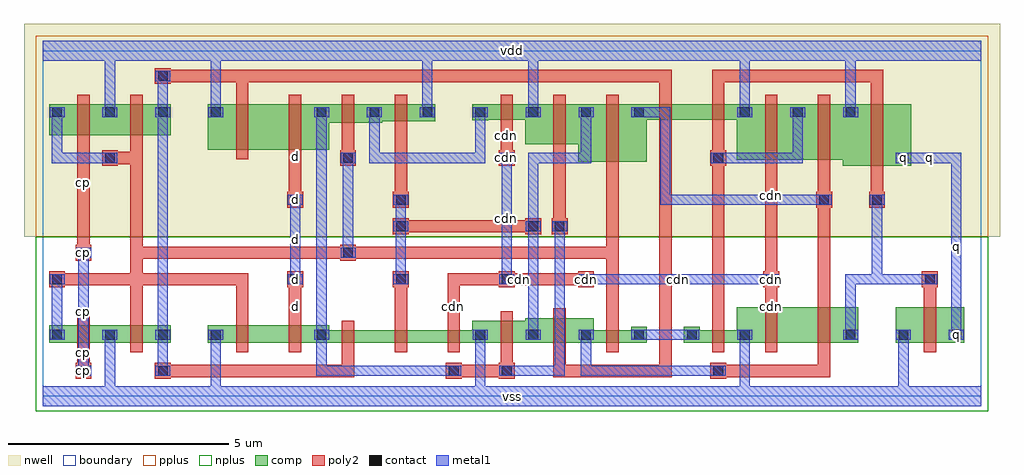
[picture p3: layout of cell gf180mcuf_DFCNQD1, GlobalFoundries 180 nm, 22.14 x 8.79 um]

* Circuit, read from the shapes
.subckt gf180mcuf_DFCNQD1 cdn cp d q vdd vss
XM1 vss cp n1 VSUBS nfet_03v3 w=0.4u l=0.28u
XM2 n2 n1 vss VSUBS nfet_03v3 w=0.4u l=0.28u
XM3 n3 n1 vss VSUBS nfet_03v3 w=0.4u l=0.28u
XM4 n4 d n3 VSUBS nfet_03v3 w=0.4u l=0.28u
XM5 n5 n2 n4 VSUBS nfet_03v3 w=0.28u l=0.28u
XM6 n6 n7 n5 VSUBS nfet_03v3 w=0.28u l=0.28u
XM7 vss cdn n6 VSUBS nfet_03v3 w=0.28u l=0.28u
XM8 n7 n4 vss VSUBS nfet_03v3 w=0.495u l=0.28u
XM9 n8 n2 n7 VSUBS nfet_03v3 w=0.56u l=0.28u
XM10 n9 n1 n8 VSUBS nfet_03v3 w=0.28u l=0.28u
XM11 vss n10 n9 VSUBS nfet_03v3 w=0.28u l=0.28u
XM12 n11 cdn vss VSUBS nfet_03v3 w=0.8u l=0.28u
XM13 n10 n8 n11 VSUBS nfet_03v3 w=0.8u l=0.28u
XM14 q n10 vss VSUBS nfet_03v3 w=0.8u l=0.28u
XM15 vdd cp n1 n12 pfet_03v3 w=0.7u l=0.28u
XM16 n2 n1 vdd n12 pfet_03v3 w=0.7u l=0.28u
XM17 n13 n2 vdd n12 pfet_03v3 w=1.03u l=0.28u
XM18 n4 d n13 n12 pfet_03v3 w=1.03u l=0.28u
XM19 n14 n1 n4 n12 pfet_03v3 w=0.42u l=0.28u
XM20 vdd n7 n14 n12 pfet_03v3 w=0.385u l=0.28u
XM21 vdd cdn n14 n12 pfet_03v3 w=0.355u l=0.28u
XM22 n7 n4 vdd n12 pfet_03v3 w=0.91u l=0.28u
XM23 n8 n1 n7 n12 pfet_03v3 w=1.31u l=0.28u
XM24 n15 n2 n8 n12 pfet_03v3 w=0.355u l=0.28u
XM25 vdd n10 n15 n12 pfet_03v3 w=0.355u l=0.28u
XM26 n10 cdn vdd n12 pfet_03v3 w=1.26u l=0.28u
XM27 vdd n8 n10 n12 pfet_03v3 w=1.26u l=0.28u
XM28 q n10 vdd n12 pfet_03v3 w=1.4u l=0.28u
.ends

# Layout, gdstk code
import gdstk
lib = gdstk.Library(unit=1e-6, precision=1e-09)
def R(c, l, rs):  # rectangles x0, y0, x1, y1
    for r in rs: c.add(gdstk.rectangle(r[:2], r[2:], *l))
def A(c, l, x, y, w, h, nx, ny, dx, dy):  # array of equal rectangles
    R(c, l, [(x+i*dx, y+j*dy, x+i*dx+w, y+j*dy+h) for i in range(nx) for j in range(ny)])
boundary = (0, 0)
nwell = (21, 0)
comp = (22, 0)
poly2 = (30, 0)
pplus = (31, 0)
nplus = (32, 0)
contact = (33, 0)
metal1 = (34, 0)

gf180mcuf_dfcnqd1 = lib.new_cell('gf180mcuf_DFCNQD1')
R(gf180mcuf_dfcnqd1, boundary, [(0,0,21.28,7.84)])
R(gf180mcuf_dfcnqd1, nwell, [(-0.43,3.62,21.71,8.45)])
A(gf180mcuf_dfcnqd1, comp, 0.14, 1.215, 0.36, 0.36, 4, 2, 1.2, 5.05)
A(gf180mcuf_dfcnqd1, comp, 6.14, 1.215, 1.56, 0.28, 3, 1, 1.2, 0)
A(gf180mcuf_dfcnqd1, comp, 9.74, 1.215, 0.36, 0.36, 6, 1, 1.2, 0)
A(gf180mcuf_dfcnqd1, comp, 18.14, 1.215, 0.36, 0.36, 3, 1, 1.2, 0)
A(gf180mcuf_dfcnqd1, comp, 6.14, 6.265, 0.36, 0.36, 7, 1, 1.2, 0)
A(gf180mcuf_dfcnqd1, comp, 15.74, 6.265, 0.36, 0.36, 3, 1, 1.2, 0)
R(gf180mcuf_dfcnqd1, comp, [(0.14,1.215,1.7,1.615), (1.34,1.215,2.9,1.615), (3.74,1.215,5.3,1.615), (4.94,1.215,6.5,1.615), (6.14,1.215,6.5,1.575), (9.74,1.215,11.3,1.71), (10.94,1.215,12.5,1.775), (12.14,1.215,13.7,1.495), (14.54,1.215,16.1,1.495), (15.74,1.215,17.3,2.015), (16.94,1.215,18.5,2.015), (19.34,1.215,20.9,2.015), (18.14,5.225,19.7,6.625), (19.34,5.225,19.7,5.585), (12.14,5.315,13.7,6.625), (15.74,5.365,17.3,6.625), (16.94,5.365,18.5,6.625), (3.74,5.595,5.3,6.625), (4.94,5.595,6.5,6.625), (10.94,5.715,12.5,6.625), (0.14,5.925,1.7,6.625), (1.34,5.925,2.9,6.625), (6.14,6.205,7.7,6.625), (7.34,6.24,8.9,6.625), (9.74,6.27,11.3,6.625), (13.34,6.27,14.9,6.625), (14.54,6.27,16.1,6.625)])
A(gf180mcuf_dfcnqd1, poly2, 6.78, 0.995, 0.28, 0.72, 3, 1, 1.2, 0)
A(gf180mcuf_dfcnqd1, poly2, 5.54, 2.475, 0.36, 0.36, 3, 1, 2.4, 0)
R(gf180mcuf_dfcnqd1, poly2, [(0.74,0.395,1.1,0.755), (2.54,0.395,2.9,0.755), (9.14,0.395,9.5,0.755), (10.34,0.395,10.7,0.755), (15.14,0.395,15.5,0.755), (0.78,0.435,1.06,1.535), (2.58,0.435,7.06,0.715), (6.78,0.435,7.06,1.535), (9.18,0.435,10.66,0.715), (10.38,0.435,10.66,1.535), (11.58,0.435,11.86,1.535), (11.58,0.435,14.26,0.715), (13.98,0.435,14.26,6.585), (15.18,0.435,17.86,0.715), (17.58,0.435,17.86,1.535), (0.78,0.995,1.06,1.835), (1.98,0.995,2.26,1.835), (4.38,0.995,4.66,1.835), (5.58,0.995,5.86,1.835), (10.38,0.995,10.66,1.93), (11.58,0.995,11.86,1.995), (12.78,0.995,13.06,1.715), (15.18,0.995,15.46,1.715), (16.38,0.995,16.66,2.235), (17.58,0.995,17.86,2.235), (19.98,0.995,20.26,2.235), (1.98,1.255,2.26,2.795), (1.98,1.255,2.26,2.795), (4.38,1.255,4.66,2.795), (5.58,1.255,5.86,2.795), (7.98,1.255,8.26,2.795), (9.18,1.255,9.46,2.795), (12.78,1.255,13.06,3.395), (15.18,1.255,15.46,6.585), (16.38,1.255,16.66,2.795), (17.58,1.255,17.86,4.595), (19.98,1.255,20.26,2.795), (0.14,2.475,0.5,2.835), (12.14,2.475,12.5,2.835), (16.34,2.475,16.7,2.835), (19.94,2.475,20.3,2.835), (0.18,2.515,2.26,2.795), (1.98,2.515,2.26,6.585), (1.98,2.515,2.26,3.395), (1.98,2.515,4.66,2.795), (9.18,2.515,12.46,2.795), (16.38,2.515,16.66,6.585), (0.74,3.075,1.1,3.435), (6.74,3.075,7.1,3.435), (0.78,3.115,1.06,6.585), (1.98,3.115,7.06,3.395), (6.78,3.115,13.06,3.395), (12.78,3.115,13.06,6.585), (7.94,3.675,8.3,4.035), (10.94,3.675,11.3,4.035), (11.54,3.675,11.9,4.035), (7.98,3.715,11.26,3.995), (11.58,3.715,11.86,6.585), (5.54,4.275,5.9,4.635), (7.94,4.275,8.3,4.635), (17.54,4.275,17.9,4.635), (18.74,4.275,19.1,4.635), (5.58,4.315,5.86,6.585), (7.98,4.315,8.26,6.585), (17.58,4.315,17.86,6.585), (18.78,4.315,19.06,5.545), (18.78,5.005,19.06,6.845), (12.78,5.095,13.06,6.845), (16.38,5.145,16.66,6.845), (17.58,5.145,17.86,6.845), (1.34,5.225,1.7,5.585), (6.74,5.225,7.1,5.585), (10.34,5.225,10.7,5.585), (15.14,5.225,15.5,5.585), (1.38,5.265,2.26,5.545), (6.78,5.265,7.06,6.585), (10.38,5.265,10.66,6.585), (4.38,5.375,4.66,6.845), (5.58,5.375,5.86,6.845), (11.58,5.495,11.86,6.845), (0.78,5.705,1.06,6.845), (1.98,5.705,2.26,6.845), (6.78,5.985,7.06,6.845), (7.98,6.02,8.26,6.845), (10.38,6.05,10.66,6.845), (13.98,6.05,14.26,6.845), (15.18,6.05,15.46,6.845), (4.38,6.305,4.66,7.405), (13.98,6.305,14.26,7.405), (15.18,6.305,15.46,7.405), (18.78,6.305,19.06,7.405), (2.54,7.085,2.9,7.445), (2.58,7.125,4.66,7.405), (4.38,7.125,14.26,7.405), (15.18,7.125,19.06,7.405)])
R(gf180mcuf_dfcnqd1, pplus, [(-0.16,3.62,21.44,7.5), (-0.16,7.5,21.44,8.18)])
R(gf180mcuf_dfcnqd1, nplus, [(-0.16,-0.34,21.44,0.34), (-0.16,0.34,21.44,3.62)])
A(gf180mcuf_dfcnqd1, contact, 0.21, 1.285, 0.22, 0.22, 4, 2, 1.2, 5.05)
A(gf180mcuf_dfcnqd1, contact, 9.81, 1.285, 0.22, 0.22, 6, 1, 1.2, 0)
A(gf180mcuf_dfcnqd1, contact, 18.21, 1.285, 0.22, 0.22, 3, 1, 1.2, 0)
A(gf180mcuf_dfcnqd1, contact, 5.61, 2.545, 0.22, 0.22, 3, 1, 2.4, 0)
A(gf180mcuf_dfcnqd1, contact, 6.21, 6.335, 0.22, 0.22, 7, 1, 1.2, 0)
A(gf180mcuf_dfcnqd1, contact, 15.81, 6.335, 0.22, 0.22, 3, 1, 1.2, 0)
R(gf180mcuf_dfcnqd1, contact, [(0.81,0.465,1.03,0.685), (2.61,0.465,2.83,0.685), (9.21,0.465,9.43,0.685), (10.41,0.465,10.63,0.685), (15.21,0.465,15.43,0.685), (6.21,1.285,6.43,1.505), (0.21,2.545,0.43,2.765), (12.21,2.545,12.43,2.765), (16.41,2.545,16.63,2.765), (20.01,2.545,20.23,2.765), (0.81,3.145,1.03,3.365), (6.81,3.145,7.03,3.365), (8.01,3.745,8.23,3.965), (11.01,3.745,11.23,3.965), (11.61,3.745,11.83,3.965), (5.61,4.345,5.83,4.565), (8.01,4.345,8.23,4.565), (17.61,4.345,17.83,4.565), (18.81,4.345,19.03,4.565), (1.41,5.295,1.63,5.515), (6.81,5.295,7.03,5.515), (10.41,5.295,10.63,5.515), (15.21,5.295,15.43,5.515), (19.41,5.295,19.63,5.515), (2.61,7.155,2.83,7.375)])
A(gf180mcuf_dfcnqd1, metal1, 3.805, 0.065, 0.23, 1.445, 3, 1, 6, 0)
A(gf180mcuf_dfcnqd1, metal1, 0.15, 1.28, 0.34, 0.23, 4, 2, 1.2, 5.05)
A(gf180mcuf_dfcnqd1, metal1, 9.75, 1.28, 0.34, 0.23, 6, 1, 1.2, 0)
A(gf180mcuf_dfcnqd1, metal1, 18.15, 1.28, 0.34, 0.23, 3, 1, 1.2, 0)
A(gf180mcuf_dfcnqd1, metal1, 5.55, 2.54, 0.34, 0.23, 3, 1, 2.4, 0)
A(gf180mcuf_dfcnqd1, metal1, 7.405, 5.29, 0.23, 1.27, 3, 1, 2.4, 0)
A(gf180mcuf_dfcnqd1, metal1, 6.15, 6.33, 0.34, 0.23, 7, 1, 1.2, 0)
A(gf180mcuf_dfcnqd1, metal1, 15.75, 6.33, 0.34, 0.23, 3, 1, 1.2, 0)
R(gf180mcuf_dfcnqd1, metal1, [(0,-0.23,21.28,0.23), (1.405,0.065,1.635,1.51), (19.405,0.065,19.635,1.51), (0.75,0.46,1.09,0.69), (0.805,0.46,1.035,3.37), (2.55,0.46,2.89,0.69), (2.605,0.46,2.835,1.51), (6.205,0.46,6.435,1.51), (6.205,0.46,9.435,0.69), (9.15,0.46,9.49,0.69), (10.35,0.46,10.69,0.69), (10.405,0.46,11.835,0.69), (11.605,0.46,11.835,3.97), (12.205,0.46,12.435,1.51), (12.205,0.46,15.435,0.69), (15.15,0.46,15.49,0.69), (0.205,1.28,0.435,2.77), (2.605,1.28,2.835,6.56), (6.15,1.28,6.49,1.51), (6.205,1.28,6.435,6.56), (11.005,1.28,11.235,3.97), (13.405,1.28,14.835,1.51), (18.205,1.28,18.435,2.77), (20.605,1.28,20.835,5.52), (0.15,2.54,0.49,2.77), (5.605,2.54,5.835,4.57), (8.005,2.54,8.235,4.57), (10.405,2.54,10.635,5.52), (12.15,2.54,12.49,2.77), (12.205,2.54,16.635,2.77), (16.35,2.54,16.69,2.77), (18.205,2.54,19.035,2.77), (18.205,2.54,20.235,2.77), (18.805,2.54,19.035,4.57), (19.95,2.54,20.29,2.77), (0.75,3.14,1.09,3.37), (6.75,3.14,7.09,3.37), (6.805,3.14,7.035,5.52), (7.95,3.74,8.29,3.97), (10.95,3.74,11.29,3.97), (11.005,3.74,11.235,5.52), (11.55,3.74,11.89,3.97), (5.55,4.34,5.89,4.57), (7.95,4.34,8.29,4.57), (14.005,4.34,17.835,4.57), (14.005,4.34,14.235,6.56), (17.55,4.34,17.89,4.57), (18.75,4.34,19.09,4.57), (0.205,5.29,1.635,5.52), (0.205,5.29,0.435,6.56), (1.35,5.29,1.69,5.52), (6.75,5.29,7.09,5.52), (7.405,5.29,10.035,5.52), (10.35,5.29,10.69,5.52), (11.005,5.29,12.435,5.52), (15.15,5.29,15.49,5.52), (15.205,5.29,17.235,5.52), (17.005,5.29,17.235,6.56), (19.35,5.29,19.69,5.52), (19.405,5.29,20.835,5.52), (1.405,6.33,1.635,7.775), (2.605,6.33,2.835,7.38), (3.805,6.33,4.035,7.775), (8.605,6.33,8.835,7.775), (11.005,6.33,11.235,7.775), (13.405,6.33,14.235,6.56), (15.805,6.33,16.035,7.775), (18.205,6.33,18.435,7.775), (2.55,7.15,2.89,7.38), (0,7.61,21.28,8.07)])
gf180mcuf_dfcnqd1.add(gdstk.FlexPath([(0.14,0.575),(20.9,0.575)], 0, ends="flush", simple_path=True, layer=0, datatype=0))  # boundary
gf180mcuf_dfcnqd1.add(gdstk.FlexPath([(0.14,1.395),(20.9,1.395)], 0, ends="flush", simple_path=True, layer=0, datatype=0))  # boundary
gf180mcuf_dfcnqd1.add(gdstk.FlexPath([(0.14,2.655),(20.9,2.655)], 0, ends="flush", simple_path=True, layer=0, datatype=0))  # boundary
gf180mcuf_dfcnqd1.add(gdstk.FlexPath([(0.14,3.255),(20.9,3.255)], 0, ends="flush", simple_path=True, layer=0, datatype=0))  # boundary
gf180mcuf_dfcnqd1.add(gdstk.FlexPath([(0.14,3.855),(20.9,3.855)], 0, ends="flush", simple_path=True, layer=0, datatype=0))  # boundary
gf180mcuf_dfcnqd1.add(gdstk.FlexPath([(0.14,4.455),(20.9,4.455)], 0, ends="flush", simple_path=True, layer=0, datatype=0))  # boundary
gf180mcuf_dfcnqd1.add(gdstk.FlexPath([(0.14,5.405),(20.9,5.405)], 0, ends="flush", simple_path=True, layer=0, datatype=0))  # boundary
gf180mcuf_dfcnqd1.add(gdstk.FlexPath([(0.14,6.445),(20.9,6.445)], 0, ends="flush", simple_path=True, layer=0, datatype=0))  # boundary
gf180mcuf_dfcnqd1.add(gdstk.FlexPath([(0.14,7.265),(20.9,7.265)], 0, ends="flush", simple_path=True, layer=0, datatype=0))  # boundary
gf180mcuf_dfcnqd1.add(gdstk.FlexPath([(0.32,0.065),(0.32,7.775)], 0, ends="flush", simple_path=True, layer=0, datatype=0))  # boundary
gf180mcuf_dfcnqd1.add(gdstk.FlexPath([(0.92,0.065),(0.92,7.775)], 0, ends="flush", simple_path=True, layer=0, datatype=0))  # boundary
gf180mcuf_dfcnqd1.add(gdstk.FlexPath([(1.52,0.065),(1.52,7.775)], 0, ends="flush", simple_path=True, layer=0, datatype=0))  # boundary
gf180mcuf_dfcnqd1.add(gdstk.FlexPath([(2.12,0.065),(2.12,7.775)], 0, ends="flush", simple_path=True, layer=0, datatype=0))  # boundary
gf180mcuf_dfcnqd1.add(gdstk.FlexPath([(2.72,0.065),(2.72,7.775)], 0, ends="flush", simple_path=True, layer=0, datatype=0))  # boundary
gf180mcuf_dfcnqd1.add(gdstk.FlexPath([(3.32,0.065),(3.32,7.775)], 0, ends="flush", simple_path=True, layer=0, datatype=0))  # boundary
gf180mcuf_dfcnqd1.add(gdstk.FlexPath([(3.92,0.065),(3.92,7.775)], 0, ends="flush", simple_path=True, layer=0, datatype=0))  # boundary
gf180mcuf_dfcnqd1.add(gdstk.FlexPath([(4.52,0.065),(4.52,7.775)], 0, ends="flush", simple_path=True, layer=0, datatype=0))  # boundary
gf180mcuf_dfcnqd1.add(gdstk.FlexPath([(5.12,0.065),(5.12,7.775)], 0, ends="flush", simple_path=True, layer=0, datatype=0))  # boundary
gf180mcuf_dfcnqd1.add(gdstk.FlexPath([(5.72,0.065),(5.72,7.775)], 0, ends="flush", simple_path=True, layer=0, datatype=0))  # boundary
gf180mcuf_dfcnqd1.add(gdstk.FlexPath([(6.32,0.065),(6.32,7.775)], 0, ends="flush", simple_path=True, layer=0, datatype=0))  # boundary
gf180mcuf_dfcnqd1.add(gdstk.FlexPath([(6.92,0.065),(6.92,7.775)], 0, ends="flush", simple_path=True, layer=0, datatype=0))  # boundary
gf180mcuf_dfcnqd1.add(gdstk.FlexPath([(7.52,0.065),(7.52,7.775)], 0, ends="flush", simple_path=True, layer=0, datatype=0))  # boundary
gf180mcuf_dfcnqd1.add(gdstk.FlexPath([(8.12,0.065),(8.12,7.775)], 0, ends="flush", simple_path=True, layer=0, datatype=0))  # boundary
gf180mcuf_dfcnqd1.add(gdstk.FlexPath([(8.72,0.065),(8.72,7.775)], 0, ends="flush", simple_path=True, layer=0, datatype=0))  # boundary
gf180mcuf_dfcnqd1.add(gdstk.FlexPath([(9.32,0.065),(9.32,7.775)], 0, ends="flush", simple_path=True, layer=0, datatype=0))  # boundary
gf180mcuf_dfcnqd1.add(gdstk.FlexPath([(9.92,0.065),(9.92,7.775)], 0, ends="flush", simple_path=True, layer=0, datatype=0))  # boundary
gf180mcuf_dfcnqd1.add(gdstk.FlexPath([(10.52,0.065),(10.52,7.775)], 0, ends="flush", simple_path=True, layer=0, datatype=0))  # boundary
gf180mcuf_dfcnqd1.add(gdstk.FlexPath([(11.12,0.065),(11.12,7.775)], 0, ends="flush", simple_path=True, layer=0, datatype=0))  # boundary
gf180mcuf_dfcnqd1.add(gdstk.FlexPath([(11.72,0.065),(11.72,7.775)], 0, ends="flush", simple_path=True, layer=0, datatype=0))  # boundary
gf180mcuf_dfcnqd1.add(gdstk.FlexPath([(12.32,0.065),(12.32,7.775)], 0, ends="flush", simple_path=True, layer=0, datatype=0))  # boundary
gf180mcuf_dfcnqd1.add(gdstk.FlexPath([(12.92,0.065),(12.92,7.775)], 0, ends="flush", simple_path=True, layer=0, datatype=0))  # boundary
gf180mcuf_dfcnqd1.add(gdstk.FlexPath([(13.52,0.065),(13.52,7.775)], 0, ends="flush", simple_path=True, layer=0, datatype=0))  # boundary
gf180mcuf_dfcnqd1.add(gdstk.FlexPath([(14.12,0.065),(14.12,7.775)], 0, ends="flush", simple_path=True, layer=0, datatype=0))  # boundary
gf180mcuf_dfcnqd1.add(gdstk.FlexPath([(14.72,0.065),(14.72,7.775)], 0, ends="flush", simple_path=True, layer=0, datatype=0))  # boundary
gf180mcuf_dfcnqd1.add(gdstk.FlexPath([(15.32,0.065),(15.32,7.775)], 0, ends="flush", simple_path=True, layer=0, datatype=0))  # boundary
gf180mcuf_dfcnqd1.add(gdstk.FlexPath([(15.92,0.065),(15.92,7.775)], 0, ends="flush", simple_path=True, layer=0, datatype=0))  # boundary
gf180mcuf_dfcnqd1.add(gdstk.FlexPath([(16.52,0.065),(16.52,7.775)], 0, ends="flush", simple_path=True, layer=0, datatype=0))  # boundary
gf180mcuf_dfcnqd1.add(gdstk.FlexPath([(17.12,0.065),(17.12,7.775)], 0, ends="flush", simple_path=True, layer=0, datatype=0))  # boundary
gf180mcuf_dfcnqd1.add(gdstk.FlexPath([(17.72,0.065),(17.72,7.775)], 0, ends="flush", simple_path=True, layer=0, datatype=0))  # boundary
gf180mcuf_dfcnqd1.add(gdstk.FlexPath([(18.32,0.065),(18.32,7.775)], 0, ends="flush", simple_path=True, layer=0, datatype=0))  # boundary
gf180mcuf_dfcnqd1.add(gdstk.FlexPath([(18.92,0.065),(18.92,7.775)], 0, ends="flush", simple_path=True, layer=0, datatype=0))  # boundary
gf180mcuf_dfcnqd1.add(gdstk.FlexPath([(19.52,0.065),(19.52,7.775)], 0, ends="flush", simple_path=True, layer=0, datatype=0))  # boundary
gf180mcuf_dfcnqd1.add(gdstk.FlexPath([(20.12,0.065),(20.12,7.775)], 0, ends="flush", simple_path=True, layer=0, datatype=0))  # boundary
gf180mcuf_dfcnqd1.add(gdstk.FlexPath([(20.72,0.065),(20.72,7.775)], 0, ends="flush", simple_path=True, layer=0, datatype=0))  # boundary
gf180mcuf_dfcnqd1.add(gdstk.Label('q', (20.72,1.395), layer=22, texttype=0))
gf180mcuf_dfcnqd1.add(gdstk.Label('q', (19.52,5.405), layer=22, texttype=0))
gf180mcuf_dfcnqd1.add(gdstk.Label('cp', (0.92,0.985), layer=30, texttype=0))
gf180mcuf_dfcnqd1.add(gdstk.Label('cp', (0.92,0.575), layer=30, texttype=0))
gf180mcuf_dfcnqd1.add(gdstk.Label('cp', (0.92,3.255), layer=30, texttype=0))
gf180mcuf_dfcnqd1.add(gdstk.Label('cp', (0.92,4.85), layer=30, texttype=0))
gf180mcuf_dfcnqd1.add(gdstk.Label('d', (5.72,2.025), layer=30, texttype=0))
gf180mcuf_dfcnqd1.add(gdstk.Label('d', (5.72,2.655), layer=30, texttype=0))
gf180mcuf_dfcnqd1.add(gdstk.Label('d', (5.72,4.455), layer=30, texttype=0))
gf180mcuf_dfcnqd1.add(gdstk.Label('d', (5.72,5.45), layer=30, texttype=0))
gf180mcuf_dfcnqd1.add(gdstk.Label('cdn', (9.32,2.025), layer=30, texttype=0))
gf180mcuf_dfcnqd1.add(gdstk.Label('cdn', (10.82,2.655), layer=30, texttype=0))
gf180mcuf_dfcnqd1.add(gdstk.Label('cdn', (12.32,2.655), layer=30, texttype=0))
gf180mcuf_dfcnqd1.add(gdstk.Label('cdn', (16.52,2.655), layer=30, texttype=0))
gf180mcuf_dfcnqd1.add(gdstk.Label('cdn', (16.52,2.025), layer=30, texttype=0))
gf180mcuf_dfcnqd1.add(gdstk.Label('cdn', (10.52,2.655), layer=30, texttype=0))
gf180mcuf_dfcnqd1.add(gdstk.Label('cdn', (10.52,5.405), layer=30, texttype=0))
gf180mcuf_dfcnqd1.add(gdstk.Label('cdn', (10.52,5.925), layer=30, texttype=0))
gf180mcuf_dfcnqd1.add(gdstk.Label('cdn', (16.52,4.55), layer=30, texttype=0))
gf180mcuf_dfcnqd1.add(gdstk.Label('cp', (0.92,0.575), layer=33, texttype=0))
gf180mcuf_dfcnqd1.add(gdstk.Label('cp', (0.92,3.255), layer=33, texttype=0))
gf180mcuf_dfcnqd1.add(gdstk.Label('d', (5.72,2.655), layer=33, texttype=0))
gf180mcuf_dfcnqd1.add(gdstk.Label('d', (5.72,4.455), layer=33, texttype=0))
gf180mcuf_dfcnqd1.add(gdstk.Label('cdn', (12.32,2.655), layer=33, texttype=0))
gf180mcuf_dfcnqd1.add(gdstk.Label('cdn', (16.52,2.655), layer=33, texttype=0))
gf180mcuf_dfcnqd1.add(gdstk.Label('cdn', (10.52,2.655), layer=33, texttype=0))
gf180mcuf_dfcnqd1.add(gdstk.Label('cdn', (10.52,5.405), layer=33, texttype=0))
gf180mcuf_dfcnqd1.add(gdstk.Label('q', (20.72,1.395), layer=33, texttype=0))
gf180mcuf_dfcnqd1.add(gdstk.Label('q', (19.52,5.405), layer=33, texttype=0))
gf180mcuf_dfcnqd1.add(gdstk.Label('cp', (0.92,0.575), layer=34, texttype=10))
gf180mcuf_dfcnqd1.add(gdstk.Label('cp', (0.92,1.915), layer=34, texttype=10))
gf180mcuf_dfcnqd1.add(gdstk.Label('cp', (0.92,3.255), layer=34, texttype=10))
gf180mcuf_dfcnqd1.add(gdstk.Label('d', (5.72,2.655), layer=34, texttype=10))
gf180mcuf_dfcnqd1.add(gdstk.Label('d', (5.72,3.555), layer=34, texttype=10))
gf180mcuf_dfcnqd1.add(gdstk.Label('d', (5.72,4.455), layer=34, texttype=10))
gf180mcuf_dfcnqd1.add(gdstk.Label('cdn', (12.32,2.655), layer=34, texttype=10))
gf180mcuf_dfcnqd1.add(gdstk.Label('cdn', (14.42,2.655), layer=34, texttype=10))
gf180mcuf_dfcnqd1.add(gdstk.Label('cdn', (16.52,2.655), layer=34, texttype=10))
gf180mcuf_dfcnqd1.add(gdstk.Label('cdn', (10.52,2.655), layer=34, texttype=10))
gf180mcuf_dfcnqd1.add(gdstk.Label('cdn', (10.52,4.03), layer=34, texttype=10))
gf180mcuf_dfcnqd1.add(gdstk.Label('cdn', (10.52,5.405), layer=34, texttype=10))
gf180mcuf_dfcnqd1.add(gdstk.Label('q', (20.72,1.395), layer=34, texttype=10))
gf180mcuf_dfcnqd1.add(gdstk.Label('q', (19.52,5.405), layer=34, texttype=10))
gf180mcuf_dfcnqd1.add(gdstk.Label('q', (20.72,3.4), layer=34, texttype=10))
gf180mcuf_dfcnqd1.add(gdstk.Label('q', (20.12,5.405), layer=34, texttype=10))
gf180mcuf_dfcnqd1.add(gdstk.Label('vss', (10.64,0), layer=34, texttype=10))
gf180mcuf_dfcnqd1.add(gdstk.Label('vdd', (10.64,7.84), layer=34, texttype=10))

lib.write_gds('gf180mcuf_DFCNQD1.gds')
